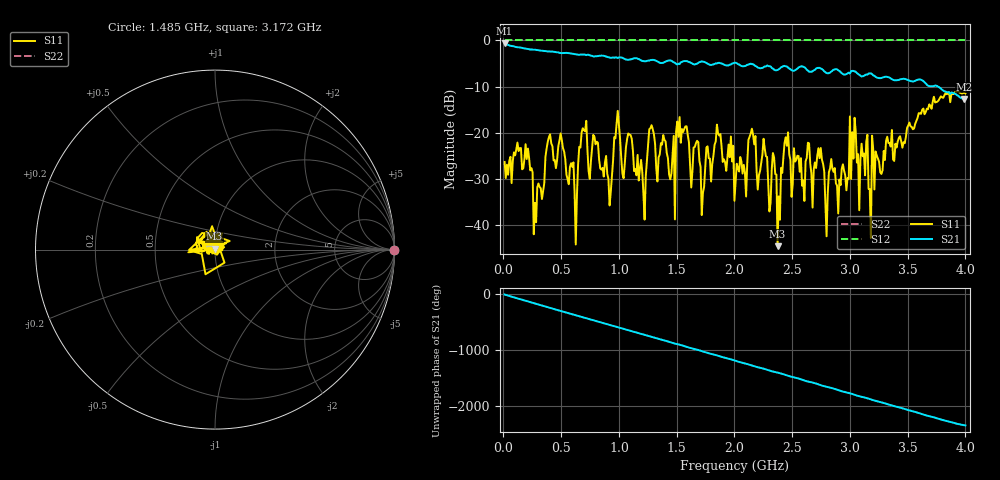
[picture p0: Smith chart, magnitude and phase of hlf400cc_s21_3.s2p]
! Anritsu VNA Master:  Model: MS2024B
! SN:  2417009
! /card0/usr/hlf400cc_s21_3.s2p
! Existing Calibration Information:
! TYPE:  Current Settings,  Active Cal Settings
! TIME:  10/07/2026 01:57:10 AM,  10/07/2026 01:30:09 AM
! INTERNAL TEMP:  49.5 C,  49.0 C
! # POINTS:  396,  396
! START FREQ:  10.000 MHz,  10.000 MHz
! STOP FREQ:  4.000 GHz,  4.000 GHz
! SOURCE POWER:  Default,  Default
! IFBW:  1 kHz,  1 kHz
! AVG FACTOR:  16 ,  16
! REF PLANE 1:  0 mm,  0 mm
! REF PLANE 2:  0 mm,  0 mm
! CAL TYPE:  1P2P S11,S21,  1P2P S11,S21
! CAL METHOD:  SOLT,  SOLT
! CAL LINE TYPE:  Coax,  Coax
! DUT PORT 1:  N-Conn(M),  N-Conn(M)
! DUT PORT 2:  N-Conn(M),  N-Conn(M)
! CAL STATUS:  OK: Accuracy High,  --
# GHZ S DB R 50.0
! FREQ.GHZ  S11DB  S11A  S21DB  S21A  S12DB  S12A  S22DB  S22A
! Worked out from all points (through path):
!   396 points, 10 MHz to 4 GHz, reference 50 ohm
!   highest |S21| = -0.58 dB at 10 MHz (marker M1); lowest = -12.7 dB at 3.99 GHz (marker M2)
!   group delay of S21, straight-line fit = 1.63 ns
!   lowest |S11| = -44.7 dB at 2.374 GHz (marker M3), VSWR 1.01, Z = 49.8 + j0.531 ohm
!   |S11| at or under -10 dB: start of sweep to end of sweep
!   |S22| runs from 0.0 to 0.0 dB; largest |S21 - S12| = 1.8
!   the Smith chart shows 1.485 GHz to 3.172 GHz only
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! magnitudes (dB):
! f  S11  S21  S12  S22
! 10 MHz  -26.4  -0.6  0.0  0.0
! 212 MHz  -23.5  -1.9  0.0  0.0
! 262.5 MHz  -42.1  -2.0  0.0  0.0
! 494.9 MHz  -20.2  -2.7  0.0  0.0
! 626.2 MHz  -44.3  -3.0  0.0  0.0
! 676.7 MHz  -20.0  -3.1  0.0  0.0
! 989.8 MHz  -15.3  -3.8  0.0  0.0
! 1.222 GHz  -38.9  -4.5  0.0  0.0
! 1.343 GHz  -25.4  -4.7  0.0  0.0
! 2.01 GHz  -30.7  -4.8  0.0  0.0
! 2.333 GHz  -24.4  -6.1  0.0  0.0
! 2.374 GHz  -44.7  -6.4  0.0  0.0
! 2.465 GHz  -20.0  -5.9  0.0  0.0
! 2.677 GHz  -36.3  -6.7  0.0  0.0
! 3.04 GHz  -16.8  -6.7  0.0  0.0
! 3.081 GHz  -36.9  -7.5  0.0  0.0
! 3.151 GHz  -20.5  -7.4  0.0  0.0
! 3.182 GHz  -42.9  -7.1  0.0  0.0
! 3.192 GHz  -20.7  -7.3  0.0  0.0
! 3.343 GHz  -22.3  -8.1  0.0  0.0
! 3.99 GHz  -11.3  -12.7  0.0  0.0
! 4 GHz  -11.5  -12.6  0.0  0.0
